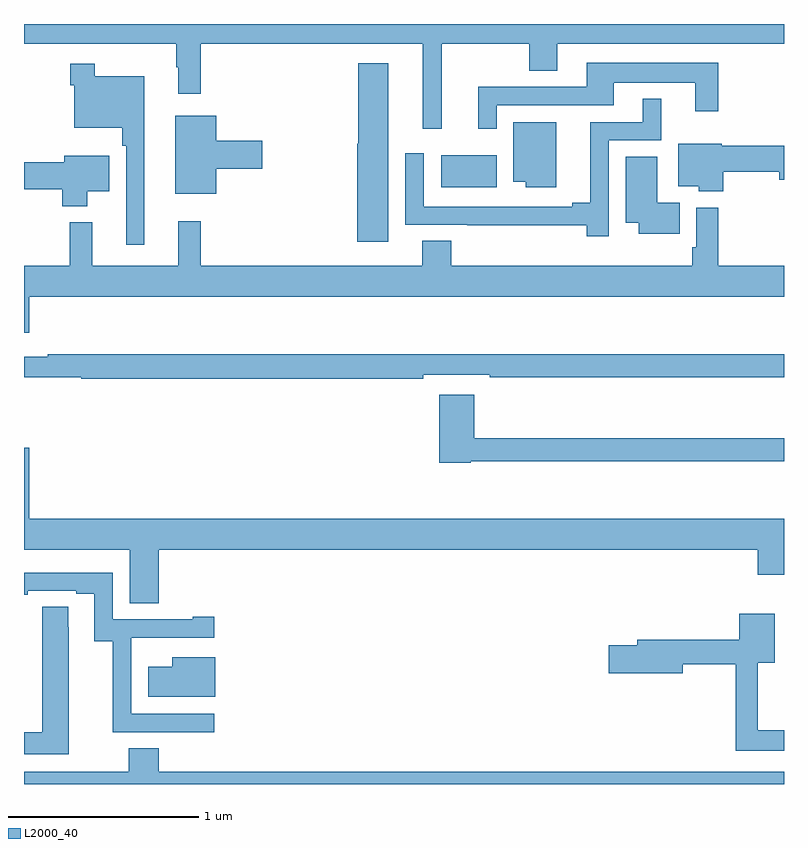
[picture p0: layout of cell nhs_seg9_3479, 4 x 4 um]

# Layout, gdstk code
import gdstk
lib = gdstk.Library(unit=1e-6, precision=1e-09)
def R(c, l, rs):  # rectangles x0, y0, x1, y1
    for r in rs: c.add(gdstk.rectangle(r[:2], r[2:], *l))
def P(c, l, *ps):  # polygons
    for p in ps: c.add(gdstk.Polygon(p, *l))
L2000_40 = (2000, 40)

nhs_seg9_3479 = lib.new_cell('nhs_seg9_3479')
R(nhs_seg9_3479, L2000_40, [(311.195,1219.64,311.488,1219.81)])
P(nhs_seg9_3479, L2000_40, [(311.198,1220.396),(311.659,1220.396),(311.659,1220.254),(311.806,1220.254),(311.806,1220.396),(313,1220.396),(313,1220.5),(309,1220.5),(309,1220.396),(309.801,1220.396),(309.801,1220.273),(309.812,1220.273),(309.812,1220.133),(309.929,1220.133),(309.929,1220.396),(311.099,1220.396),(311.099,1219.95),(311.198,1219.95)],
  [(311.487,1220.073),(312.103,1220.073),(312.103,1220.192),(312.533,1220.192),(312.533,1220.04),(312.655,1220.04),(312.655,1220.296),(311.963,1220.296),(311.963,1220.169),(311.39,1220.169),(311.39,1219.95),(311.487,1219.95)],
  [(310.918,1220.293),(310.76,1220.293),(310.76,1219.869),(310.754,1219.869),(310.754,1219.353),(310.918,1219.353)],
  [(309.634,1220.224),(309.373,1220.224),(309.373,1220.29),(309.244,1220.29),(309.244,1220.177),(309.264,1220.177),(309.264,1219.955),(309.517,1219.955),(309.517,1219.859),(309.537,1219.859),(309.537,1219.338),(309.634,1219.338)],
  [(312.078,1219.887),(312.355,1219.887),(312.355,1220.107),(312.257,1220.107),(312.257,1219.983),(311.981,1219.983),(311.981,1219.559),(311.885,1219.559),(311.885,1219.539),(311.103,1219.539),(311.103,1219.819),(311.007,1219.819),(311.007,1219.443),(311.332,1219.443),(311.332,1219.442),(311.962,1219.442),(311.962,1219.383),(312.078,1219.383)],
  [(310.012,1219.739),(310.255,1219.739),(310.255,1219.886),(310.012,1219.886),(310.012,1220.017),(309.797,1220.017),(309.797,1219.607),(310.012,1219.607)],
  [(311.8,1219.984),(311.576,1219.984),(311.576,1219.67),(311.642,1219.67),(311.642,1219.64),(311.8,1219.64)],
  [(312.681,1219.723),(312.974,1219.723),(312.974,1219.681),(313,1219.681),(313,1219.859),(312.673,1219.859),(312.673,1219.87),(312.443,1219.87),(312.443,1219.646),(312.552,1219.646),(312.552,1219.619),(312.681,1219.619)],
  [(309.334,1219.619),(309.448,1219.619),(309.448,1219.807),(309.212,1219.807),(309.212,1219.772),(309,1219.772),(309,1219.63),(309.2,1219.63),(309.2,1219.541),(309.334,1219.541)],
  [(312.452,1219.558),(312.334,1219.558),(312.334,1219.802),(312.167,1219.802),(312.167,1219.454),(312.236,1219.454),(312.236,1219.397),(312.452,1219.397)],
  [(309.028,1219.064),(313,1219.064),(313,1219.228),(312.653,1219.228),(312.653,1219.534),(312.537,1219.534),(312.537,1219.324),(312.517,1219.324),(312.517,1219.228),(311.249,1219.228),(311.249,1219.358),(311.096,1219.358),(311.096,1219.228),(309.929,1219.228),(309.929,1219.462),(309.812,1219.462),(309.812,1219.228),(309.359,1219.228),(309.359,1219.456),(309.241,1219.456),(309.241,1219.228),(309,1219.228),(309,1218.876),(309.028,1218.876)],
  [(311.102,1218.654),(311.452,1218.654),(311.452,1218.642),(313,1218.642),(313,1218.763),(309.124,1218.763),(309.124,1218.75),(309,1218.75),(309,1218.642),(309.302,1218.642),(309.302,1218.634),(311.102,1218.634)],
  [(311.352,1218.198),(313,1218.198),(313,1218.319),(311.369,1218.319),(311.369,1218.55),(311.186,1218.55),(311.186,1218.19),(311.352,1218.19)],
  [(309.71,1217.732),(312.863,1217.732),(312.863,1217.601),(313,1217.601),(313,1217.896),(309.028,1217.896),(309.028,1218.271),(309,1218.271),(309,1217.732),(309.557,1217.732),(309.557,1217.452),(309.71,1217.452)],
  [(310,1216.869),(309.564,1216.869),(309.564,1217.27),(309.566,1217.27),(309.566,1217.271),(310,1217.271),(310,1217.38),(309.887,1217.38),(309.887,1217.367),(309.468,1217.367),(309.468,1217.613),(309,1217.613),(309,1217.497),(309.019,1217.497),(309.019,1217.517),(309.275,1217.517),(309.275,1217.502),(309.371,1217.502),(309.371,1217.251),(309.466,1217.251),(309.466,1216.773),(310,1216.773)],
  [(309.235,1217.324),(309.234,1217.324),(309.234,1217.432),(309.095,1217.432),(309.095,1216.772),(309,1216.772),(309,1216.656),(309.235,1216.656)],
  [(313,1216.783),(312.863,1216.783),(312.863,1217.138),(312.952,1217.138),(312.952,1217.395),(312.764,1217.395),(312.764,1217.26),(312.227,1217.26),(312.227,1217.231),(312.078,1217.231),(312.078,1217.084),(312.466,1217.084),(312.466,1217.131),(312.745,1217.131),(312.745,1216.674),(313,1216.674)],
  [(310.006,1217.167),(309.779,1217.167),(309.779,1217.116),(309.654,1217.116),(309.654,1216.958),(310.006,1216.958)],
  [(313,1216.564),(309.71,1216.564),(309.71,1216.688),(309.55,1216.688),(309.55,1216.564),(309,1216.564),(309,1216.5),(313,1216.5)])

lib.write_gds('nhs_seg9_3479.gds')
